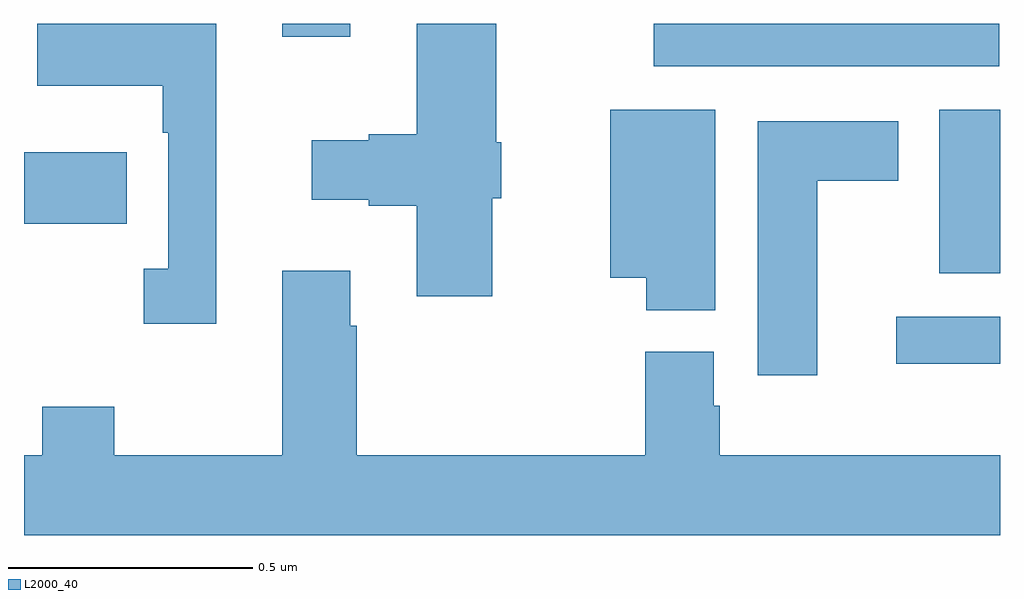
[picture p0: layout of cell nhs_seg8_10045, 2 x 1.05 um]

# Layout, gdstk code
import gdstk
lib = gdstk.Library(unit=1e-6, precision=1e-09)
def R(c, l, rs):  # rectangles x0, y0, x1, y1
    for r in rs: c.add(gdstk.rectangle(r[:2], r[2:], *l))
def P(c, l, *ps):  # polygons
    for p in ps: c.add(gdstk.Polygon(p, *l))
L2000_40 = (2000, 40)

nhs_seg8_10045 = lib.new_cell('nhs_seg8_10045')
R(nhs_seg8_10045, L2000_40, [(245.787,1098.203,246,1098.3), (245.876,1098.389,246,1098.724), (244,1098.49,244.211,1098.637), (245.29,1098.813,245.998,1098.9), (244.529,1098.873,244.669,1098.9)])
P(nhs_seg8_10045, L2000_40, [(244.96,1098.543),(244.978,1098.543),(244.978,1098.657),(244.968,1098.657),(244.968,1098.9),(244.805,1098.9),(244.805,1098.674),(244.706,1098.674),(244.706,1098.661),(244.59,1098.661),(244.59,1098.539),(244.706,1098.539),(244.706,1098.527),(244.805,1098.527),(244.805,1098.342),(244.96,1098.342)],
  [(244.394,1098.9),(244.027,1098.9),(244.027,1098.773),(244.284,1098.773),(244.284,1098.677),(244.296,1098.677),(244.296,1098.398),(244.245,1098.398),(244.245,1098.285),(244.394,1098.285)],
  [(245.416,1098.724),(245.201,1098.724),(245.201,1098.38),(245.275,1098.38),(245.275,1098.313),(245.416,1098.313)],
  [(245.626,1098.578),(245.791,1098.578),(245.791,1098.7),(245.504,1098.7),(245.504,1098.18),(245.626,1098.18)],
  [(246,1098.016),(245.426,1098.016),(245.426,1098.117),(245.413,1098.117),(245.413,1098.228),(245.273,1098.228),(245.273,1098.016),(244.682,1098.016),(244.682,1098.281),(244.669,1098.281),(244.669,1098.394),(244.529,1098.394),(244.529,1098.016),(244.185,1098.016),(244.185,1098.115),(244.037,1098.115),(244.037,1098.016),(244,1098.016),(244,1097.852),(246,1097.852)])

lib.write_gds('nhs_seg8_10045.gds')
